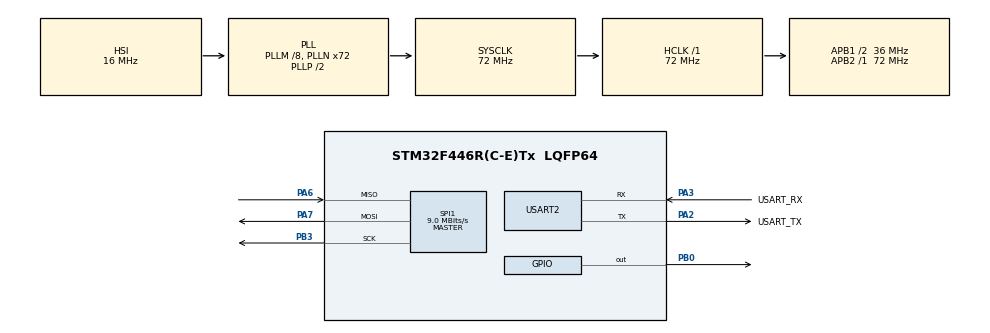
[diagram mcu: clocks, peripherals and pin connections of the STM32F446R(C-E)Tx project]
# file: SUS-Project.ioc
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FATFS._MAX_SS=4096
FATFS._USE_LFN=1
Mcu.Family=STM32F4
Mcu.Name=STM32F446R(C-E)Tx
Mcu.Package=LQFP64
NVIC.PriorityGroup=NVIC_PRIORITYGROUP_0
PA2.GPIO_Label=USART_TX
PA2.Mode=Asynchronous
PA2.Signal=USART2_TX
PA3.GPIO_Label=USART_RX
PA3.Mode=Asynchronous
PA3.Signal=USART2_RX
PA6.Mode=Full_Duplex_Master
PA6.Signal=SPI1_MISO
PA7.Mode=Full_Duplex_Master
PA7.Signal=SPI1_MOSI
PB0.Signal=GPIO_Output
PB3.Mode=Full_Duplex_Master
PB3.Signal=SPI1_SCK
PH0-OSC_IN.Mode=HSE-External-Oscillator
PH0-OSC_IN.Signal=RCC_OSC_IN
PH1-OSC_OUT.Mode=HSE-External-Oscillator
PH1-OSC_OUT.Signal=RCC_OSC_OUT
ProjectManager.HeapSize=0x200
ProjectManager.StackSize=0x400
ProjectManager.TargetToolchain=STM32CubeIDE
RCC.48MHZClocksFreq_Value=84000000
RCC.AHBFreq_Value=72000000
RCC.APB1CLKDivider=RCC_HCLK_DIV2
RCC.APB1Freq_Value=36000000
RCC.APB1TimFreq_Value=72000000
RCC.APB2Freq_Value=72000000
RCC.APB2TimFreq_Value=72000000
RCC.CortexFreq_Value=72000000
RCC.FLatency-AdvancedSettings=FLASH_LATENCY_2
RCC.HCLKFreq_Value=72000000
RCC.HSE_VALUE=8000000
RCC.HSI_VALUE=16000000
RCC.PLLM=8
RCC.PLLN=72
RCC.SYSCLKFreq_VALUE=72000000
RCC.SYSCLKSource=RCC_SYSCLKSOURCE_PLLCLK
RCC.USBFreq_Value=72000000
RCC.VCOOutputFreq_Value=144000000
SPI1.BaudRatePrescaler=SPI_BAUDRATEPRESCALER_8
SPI1.CalculateBaudRate=9.0 MBits/s
SPI1.Direction=SPI_DIRECTION_2LINES
SPI1.Mode=SPI_MODE_MASTER
SPI1.VirtualType=VM_MASTER
USART2.VirtualMode=VM_ASYNC
VP_FATFS_VS_Generic.Mode=User_defined
board=NUCLEO-F446RE

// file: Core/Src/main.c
/* USER CODE BEGIN Header */
/**
  ******************************************************************************
  * @file           : main.c
  * @brief          : Main program body
  ******************************************************************************
  * @attention
  *
  * Copyright (c) 2023 STMicroelectronics.
  * All rights reserved.
  *
  * This software is licensed under terms that can be found in the LICENSE file
  * in the root directory of this software component.
  * If no LICENSE file comes with this software, it is provided AS-IS.
  *
  ******************************************************************************
  */
/* USER CODE END Header */
#include "main.h"
#include "fatfs.h"

/* USER CODE BEGIN Includes */
#include "fatfs_sd.h"
#include "string.h"

/* USER CODE END Includes */

/* USER CODE BEGIN PM */
UINT br, bw;  // File read/write count

/* USER CODE END PM */

SPI_HandleTypeDef hspi1;

UART_HandleTypeDef huart2;

void SystemClock_Config(void);
static void MX_GPIO_Init(void);
static void MX_USART2_UART_Init(void);
static void MX_SPI1_Init(void);

/* USER CODE BEGIN 0 */
FATFS fs; //file system
FIL fil; // file
FRESULT fresult; //to store the result
char buffer[1024]; //to store data

/* capacity related variables*/
FATFS *pfs;
DWORD fre_clust;
uint32_t total, free_space;

/* to send the data to the uart*/
void send_uart(char *string){
	uint8_t len = strlen(string);
	HAL_UART_Transmit(&huart2, (uint8_t *) string, len, 2000); //transmit in block mode
}

/* to find the size of data in the buffer*/
int bufsize (char *buf){
	int i = 0;
	while(*buf++ != '\0') i++;
	return i;
}

void bufclear(void){ //clear buffer
	for(int i = 0; i<1024; i++){
		buffer[i] = '\0';
	}
}
/* USER CODE END 0 */

int main(void)
{

  /* MCU Configuration--------------------------------------------------------*/

  /* Reset of all peripherals, Initializes the Flash interface and the Systick. */
  HAL_Init();

  /* Configure the system clock */
  SystemClock_Config();

  /* Initialize all configured peripherals */
  MX_GPIO_Init();
  MX_USART2_UART_Init();
  MX_SPI1_Init();
  MX_FATFS_Init();
  /* USER CODE BEGIN 2 */

  /*Mount SD Card*/
  fresult = f_mount(&fs, "", 0);
  if(fresult != FR_OK) send_uart("error in mounting SD CARD...\n");
  else send_uart("SD CARD mounted succesfully...\n");

  /*************** Card capacity details ********************/

    /* Check free space */
    f_getfree("", &fre_clust, &pfs);

   	total = (uint32_t)((pfs->n_fatent - 2) * pfs->csize * 0.5);
   	sprintf (buffer, "SD CARD Total Size: \t%lu\n",total);
   	send_uart(buffer);
   	bufclear();
   	free_space = (uint32_t)(fre_clust * pfs->csize * 0.5);
   	sprintf (buffer, "SD CARD Free Space: \t%lu\n\n",free_space);
   	send_uart(buffer);

  /************* The following operation is using PUTS and GETS *********************/

   	/* Open file to write/ create a file if it doesn't exist */
   	fresult = f_open(&fil, "file1.txt", FA_OPEN_ALWAYS | FA_READ | FA_WRITE);

   	/* Writing text */
   	f_puts("This data is from the FILE1.txt. And it was written using ...f_puts... ", &fil);

  	/* Close file */
   	fresult = f_close(&fil);

   	if (fresult == FR_OK)send_uart ("File1.txt created and the data is written \n");

   	/* Open file to read */
   	fresult = f_open(&fil, "file1.txt", FA_READ);

   	/* Read string from the file */
   	f_gets(buffer, f_size(&fil), &fil);

   	send_uart("File1.txt is opened and it contains the data as shown below\n");
   	send_uart(buffer);
   	send_uart("\n\n");

   	/* Close file */
   	f_close(&fil);

   	bufclear();

	/**************** The following operation is using f_write and f_read **************************/

  	/* Create second file with read write access and open it */
  	fresult = f_open(&fil, "file2.txt", FA_CREATE_ALWAYS | FA_WRITE);

  	/* Writing text */
  	strcpy (buffer, "This is File2.txt, written using ...f_write... and it says Hello from World\n");

  	fresult = f_write(&fil, buffer, bufsize(buffer), &bw);

  	send_uart ("File2.txt created and data is written\n");

  	/* Close file */
  	f_close(&fil);

  	// clearing buffer to show that result obtained is from the file
  	bufclear();

  	/* Open second file to read */
  	fresult = f_open(&fil, "file2.txt", FA_READ);
  	if (fresult == FR_OK)send_uart ("file2.txt is open and the data is shown below\n");

  	/* Read data from the file
  	 * Please see the function details for the arguments */
  	f_read (&fil, buffer, f_size(&fil), &br);
  	send_uart(buffer);
  	send_uart("\n\n");

  	/* Close file */
  	f_close(&fil);

  	bufclear();

  	/*********************UPDATING an existing file ***************************/

  	  	/* Open the file with write access */
  	  	fresult = f_open(&fil, "file2.txt", FA_OPEN_EXISTING | FA_READ | FA_WRITE);

  	  	/* Move to offset to the end of the file */
  	  	fresult = f_lseek(&fil, f_size(&fil));

  	  	if (fresult == FR_OK)send_uart ("About to update the file2.txt\n");

  	  	/* write the string to the file */
  	  	fresult = f_puts("This is updated data and it should be in the end", &fil);

  	  	f_close (&fil);

  	  	bufclear();

  	  	/* Open to read the file */
  	  	fresult = f_open (&fil, "file2.txt", FA_READ);

  	  	/* Read string from the file */
  	  	fresult = f_read (&fil, buffer, f_size(&fil), &br);
  	  	if (fresult == FR_OK)send_uart ("Below is the data from updated file2.txt\n");
  	  	send_uart(buffer);
  	  	send_uart("\n\n");

  	  	/* Close file */
  	  	f_close(&fil);

  	  	bufclear();

  	  /*************************REMOVING FILES FROM THE DIRECTORY ****************************/

  	    	fresult = f_unlink("/file1.txt");
  	    	if (fresult == FR_OK) send_uart("file1.txt removed successfully...\n");

  	    	fresult = f_unlink("/file2.txt");
  	    	if (fresult == FR_OK) send_uart("file2.txt removed successfully...\n");

  	    	/* Unmount SDCARD */
  	    	fresult = f_mount(NULL, "/", 1);
  	    	if (fresult == FR_OK) send_uart ("SD CARD UNMOUNTED successfully...\n");

  /* USER CODE END 2 */

  /* Infinite loop */
  while (1)
  {

  }
}

void SystemClock_Config(void)
{
  RCC_OscInitTypeDef RCC_OscInitStruct = {0};
  RCC_ClkInitTypeDef RCC_ClkInitStruct = {0};

  /** Configure the main internal regulator output voltage
  */
  __HAL_RCC_PWR_CLK_ENABLE();
  __HAL_PWR_VOLTAGESCALING_CONFIG(PWR_REGULATOR_VOLTAGE_SCALE3);

  /** Initializes the RCC Oscillators according to the specified parameters
  * in the RCC_OscInitTypeDef structure.
  */
  RCC_OscInitStruct.OscillatorType = RCC_OSCILLATORTYPE_HSI;
  RCC_OscInitStruct.HSIState = RCC_HSI_ON;
  RCC_OscInitStruct.HSICalibrationValue = RCC_HSICALIBRATION_DEFAULT;
  RCC_OscInitStruct.PLL.PLLState = RCC_PLL_ON;
  RCC_OscInitStruct.PLL.PLLSource = RCC_PLLSOURCE_HSI;
  RCC_OscInitStruct.PLL.PLLM = 8;
  RCC_OscInitStruct.PLL.PLLN = 72;
  RCC_OscInitStruct.PLL.PLLP = RCC_PLLP_DIV2;
  RCC_OscInitStruct.PLL.PLLQ = 2;
  RCC_OscInitStruct.PLL.PLLR = 2;
  if (HAL_RCC_OscConfig(&RCC_OscInitStruct) != HAL_OK)
  {
    Error_Handler();
  }

  /** Initializes the CPU, AHB and APB buses clocks
  */
  RCC_ClkInitStruct.ClockType = RCC_CLOCKTYPE_HCLK|RCC_CLOCKTYPE_SYSCLK
                              |RCC_CLOCKTYPE_PCLK1|RCC_CLOCKTYPE_PCLK2;
  RCC_ClkInitStruct.SYSCLKSource = RCC_SYSCLKSOURCE_PLLCLK;
  RCC_ClkInitStruct.AHBCLKDivider = RCC_SYSCLK_DIV1;
  RCC_ClkInitStruct.APB1CLKDivider = RCC_HCLK_DIV2;
  RCC_ClkInitStruct.APB2CLKDivider = RCC_HCLK_DIV1;

  if (HAL_RCC_ClockConfig(&RCC_ClkInitStruct, FLASH_LATENCY_2) != HAL_OK)
  {
    Error_Handler();
  }
}

static void MX_SPI1_Init(void)
{

  /* SPI1 parameter configuration*/
  hspi1.Instance = SPI1;
  hspi1.Init.Mode = SPI_MODE_MASTER;
  hspi1.Init.Direction = SPI_DIRECTION_2LINES;
  hspi1.Init.DataSize = SPI_DATASIZE_8BIT;
  hspi1.Init.CLKPolarity = SPI_POLARITY_LOW;
  hspi1.Init.CLKPhase = SPI_PHASE_1EDGE;
  hspi1.Init.NSS = SPI_NSS_SOFT;
  hspi1.Init.BaudRatePrescaler = SPI_BAUDRATEPRESCALER_8;
  hspi1.Init.FirstBit = SPI_FIRSTBIT_MSB;
  hspi1.Init.TIMode = SPI_TIMODE_DISABLE;
  hspi1.Init.CRCCalculation = SPI_CRCCALCULATION_DISABLE;
  hspi1.Init.CRCPolynomial = 10;
  if (HAL_SPI_Init(&hspi1) != HAL_OK)
  {
    Error_Handler();
  }

}

static void MX_USART2_UART_Init(void)
{

  huart2.Instance = USART2;
  huart2.Init.BaudRate = 115200;
  huart2.Init.WordLength = UART_WORDLENGTH_8B;
  huart2.Init.StopBits = UART_STOPBITS_1;
  huart2.Init.Parity = UART_PARITY_NONE;
  huart2.Init.Mode = UART_MODE_TX_RX;
  huart2.Init.HwFlowCtl = UART_HWCONTROL_NONE;
  huart2.Init.OverSampling = UART_OVERSAMPLING_16;
  if (HAL_UART_Init(&huart2) != HAL_OK)
  {
    Error_Handler();
  }

}

static void MX_GPIO_Init(void)
{
  GPIO_InitTypeDef GPIO_InitStruct = {0};

  /* GPIO Ports Clock Enable */
  __HAL_RCC_GPIOH_CLK_ENABLE();
  __HAL_RCC_GPIOA_CLK_ENABLE();
  __HAL_RCC_GPIOB_CLK_ENABLE();

  /*Configure GPIO pin Output Level */
  HAL_GPIO_WritePin(GPIOB, GPIO_PIN_0, GPIO_PIN_RESET);

  /*Configure GPIO pin : PB0 */
  GPIO_InitStruct.Pin = GPIO_PIN_0;
  GPIO_InitStruct.Mode = GPIO_MODE_OUTPUT_PP;
  GPIO_InitStruct.Pull = GPIO_NOPULL;
  GPIO_InitStruct.Speed = GPIO_SPEED_FREQ_LOW;
  HAL_GPIO_Init(GPIOB, &GPIO_InitStruct);

}

void Error_Handler(void)
{
  __disable_irq();
  while (1)
  {
  }
}
